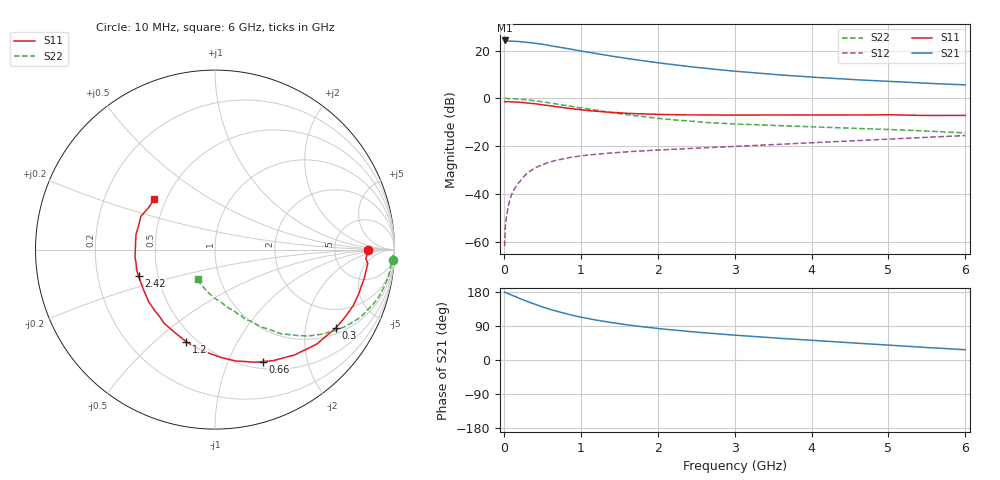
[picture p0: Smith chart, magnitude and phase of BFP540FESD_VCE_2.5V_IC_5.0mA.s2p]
! Infineon Technologies  Discrete & RF Semiconductors
! BFP540FESD
! VCE =  2.5 V,  IC =  5.0 mA
! Common Emitter S-Parameters:  Nov 2015
# GHz  S  MA  R  50
!  f  S11  S21  S12  S22
! GHz  MAG  ANG  MAG  ANG  MAG  ANG  MAG  ANG
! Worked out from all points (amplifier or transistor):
!   210 points, 10 MHz to 6 GHz, reference 50 ohm
!   highest |S21| = 24.3 dB at 10 MHz (marker M1)
!   |S21| within 3 dB of that: start of sweep to 756.4 MHz
!   unconditionally stable (mu >= 1): 2.73 GHz to end of sweep
!   at 185 MHz: K = 0.08, MSG = 29.8 dB, |S12| = -35.7 dB
!   at 1.52 GHz: K = 0.62, MSG = 19.8 dB, |S12| = -22.6 dB
!   at 6 GHz: K = 1.32, MAG = 7.3 dB, |S12| = -15.6 dB
!   S11 on the Smith chart (normalised r, x): 10 MHz: 13, -0; 300 MHz: 1.20, -2.93; 660 MHz: 0.58, -1.34; 1.2 GHz: 0.44, -0.64; 2.42 GHz: 0.39, -0.14; 6 GHz: 0.43, +0.30
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0.01  0.8536 -0.3  16.31 178.7  0.0008 85.4  0.9909 -3.5
0.02  0.8422 -3.4  15.82 178.4  0.0021 82.1  0.9954 -1.4
0.085  0.8484 -9.1  15.82 172.8  0.0081 86.1  0.9842 -5.6
0.15  0.8377 -17.2  15.76 167.5  0.0136 81.7  0.9749 -9.8
0.2  0.8309 -22.1  15.47 162.8  0.0176 78.5  0.9621 -13.0
0.3  0.8022 -33.0  14.98 154.8  0.0266 73.6  0.9318 -19.2
0.4  0.7729 -43.1  14.31 147.2  0.0346 68.6  0.8943 -24.9
0.5  0.7352 -53.0  13.6 140.1  0.0406 63.7  0.8473 -30.1
0.6  0.6986 -62.3  12.72 133.4  0.0466 60.3  0.8008 -34.6
0.66  0.6776 -67.0  12.27 130.2  0.0492 58.4  0.7737 -36.9
0.8  0.6314 -79.4  11.23 122.4  0.0553 53.6  0.71 -42.7
0.9  0.6021 -86.8  10.5 117.4  0.0591 51.5  0.6685 -45.8
1.02  0.5725 -95.0  9.709 112.4  0.0629 48.8  0.6239 -49.3
1.2  0.5374 -107.4  8.634 105.3  0.0674 45.8  0.5623 -54.1
1.56  0.4905 -127.2  6.988 94.1  0.075 42.5  0.4645 -61.8
1.78  0.4733 -137.6  6.209 88.2  0.0787 40.7  0.4207 -66.6
2.02  0.4597 -147.9  5.52 82.7  0.0827 39.8  0.3791 -70.5
2.42  0.4498 -160.9  4.599 75.0  0.0887 38.6  0.3345 -76.8
3.1  0.4457 -176.8  3.593 64.1  0.1001 38.1  0.2866 -85.8
4.1  0.447 167.8  2.726 50.7  0.1194 37.0  0.2503 -96.2
5.1  0.449 154.2  2.225 38.0  0.1428 33.8  0.2198 -106.7
6  0.4398 140.5  1.916 27.0  0.1658 29.7  0.189 -119.3
